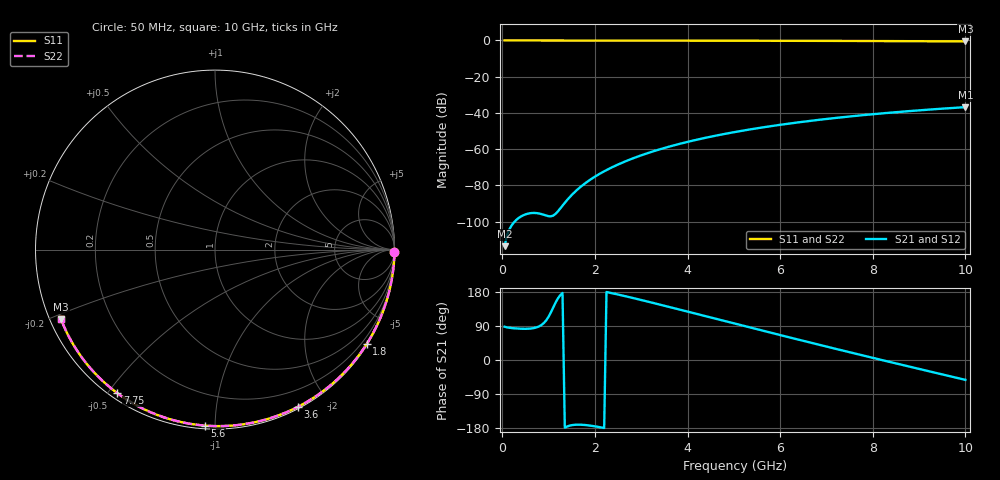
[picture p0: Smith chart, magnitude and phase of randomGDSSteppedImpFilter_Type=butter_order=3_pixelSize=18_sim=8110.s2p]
! freq	dB(S11)	phase(S11)	dB(S12)	phase(S12)
!  dB(S21)	phase(S21)	dB(S22)	phase(S22)
!S-par simulation data
#  GHz  S  DB  R 50
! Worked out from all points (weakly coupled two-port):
!   200 points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, 50 MHz to 10 GHz, reference 50 ohm
!   highest |S21| = -36.80 dB at 10 GHz (marker M1); lowest = -113.5 dB at 50 MHz (marker M2)
!   lowest |S11| = -0.5 dB at 10 GHz (marker M3), VSWR 33.22, Z = 1.58 - j10.8 ohm
!   |S11| at or under -10 dB: nowhere
!   |S22| runs from -0.5 to 0.0 dB; largest |S21 - S12| = 0
!   S11 on the Smith chart (normalised r, x): 50 MHz: open; 1.8 GHz: 0.03, -3.49; 3.6 GHz: 0.02, -1.66; 5.6 GHz: 0.02, -0.94; 7.75 GHz: 0.02, -0.53; 10 GHz: 0.03, -0.22
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0.05  -0.00 -0.9  -113.54 87.8  -113.54 87.8  -0.00 -0.9
0.45  -0.01 -8.1  -96.52 82.3  -96.52 82.3  -0.01 -8.1
0.9  -0.02 -16.1  -96.26 97.9  -96.26 97.9  -0.02 -16.1
1.7  -0.04 -30.2  -80.60 -170.8  -80.60 -170.8  -0.04 -30.2
1.75  -0.04 -31.1  -79.59 -171.2  -79.59 -171.2  -0.04 -31.1
1.8  -0.04 -32.0  -78.62 -171.7  -78.62 -171.7  -0.04 -32.0
1.95  -0.04 -34.5  -75.98 -174.0  -75.98 -174.0  -0.04 -34.6
2.1  -0.05 -37.1  -73.64 -177.1  -73.64 -177.1  -0.05 -37.1
2.3  -0.05 -40.6  -70.89 178.1  -70.89 178.1  -0.05 -40.6
2.5  -0.06 -44.0  -68.46 172.8  -68.46 172.8  -0.06 -44.0
2.9  -0.07 -50.7  -64.31 161.3  -64.31 161.3  -0.07 -50.7
3.4  -0.08 -59.0  -60.09 146.3  -60.09 146.3  -0.08 -59.0
3.6  -0.08 -62.2  -58.62 140.1  -58.62 140.1  -0.08 -62.2
4.3  -0.10 -73.4  -54.20 118.4  -54.20 118.4  -0.10 -73.4
5.05  -0.13 -85.0  -50.41 95.1  -50.41 95.1  -0.13 -85.0
5.6  -0.15 -93.3  -48.07 78.1  -48.07 78.1  -0.15 -93.3
6.15  -0.18 -101.4  -46.03 61.2  -46.03 61.2  -0.18 -101.4
6.7  -0.21 -109.3  -44.22 44.5  -44.22 44.5  -0.21 -109.3
7.75  -0.29 -124.2  -41.32 13.0  -41.32 13.0  -0.29 -124.2
8.35  -0.34 -132.6  -39.91 -4.6  -39.91 -4.6  -0.34 -132.6
9.2  -0.43 -144.4  -38.18 -29.4  -38.18 -29.4  -0.43 -144.4
10  -0.52 -155.7  -36.80 -52.4  -36.80 -52.4  -0.52 -155.7
